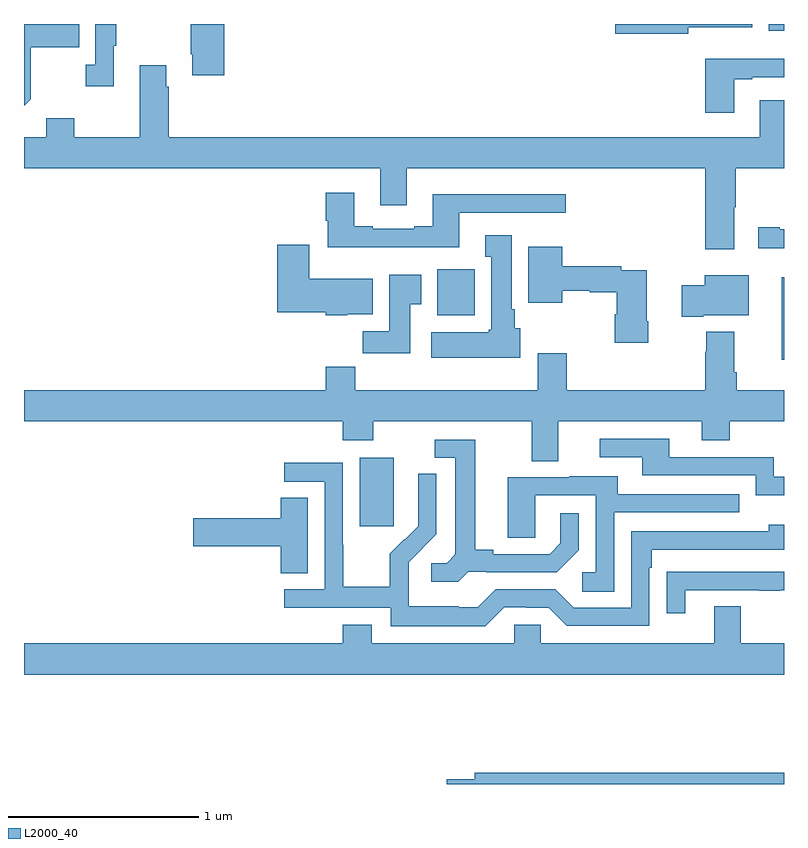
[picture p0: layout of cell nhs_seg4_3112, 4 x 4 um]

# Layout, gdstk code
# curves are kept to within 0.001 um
import gdstk
lib = gdstk.Library(unit=1e-6, precision=1e-09)
def R(c, l, rs):  # rectangles x0, y0, x1, y1
    for r in rs: c.add(gdstk.rectangle(r[:2], r[2:], *l))
def P(c, l, *ps):  # polygons
    for p in ps: c.add(gdstk.Polygon(p, *l))
L2000_40 = (2000, 40)

nhs_seg4_3112 = lib.new_cell('nhs_seg4_3112')
R(nhs_seg4_3112, L2000_40, [(276.767,808.257,276.946,808.618), (278.987,809.133,279,809.566), (277.175,809.366,277.372,809.608), (278.921,810.864,279,810.9)])
P(nhs_seg4_3112, L2000_40, [(276.053,810.9),(275.878,810.9),(275.878,810.742),(275.885,810.742),(275.885,810.63),(276.053,810.63)],
  [(275.035,810.505),(275.035,810.778),(275.291,810.778),(275.291,810.9),(275,810.9),(275,810.47)],
  [(275.473,810.785),(275.485,810.785),(275.485,810.9),(275.376,810.9),(275.376,810.686),(275.325,810.686),(275.325,810.573),(275.473,810.573)],
  [(278.496,810.884),(278.833,810.884),(278.833,810.9),(278.112,810.9),(278.112,810.848),(278.496,810.848)],
  [(278.737,810.609),(278.833,810.609),(278.833,810.621),(279,810.621),(279,810.718),(278.585,810.718),(278.585,810.432),(278.737,810.432)],
  [(276.875,809.946),(277.015,809.946),(277.015,810.14),(278.585,810.14),(278.585,809.715),(278.737,809.715),(278.737,809.936),(278.745,809.936),(278.745,810.14),(279,810.14),(279,810.499),(278.873,810.499),(278.873,810.304),(275.762,810.304),(275.762,810.569),(275.749,810.569),(275.749,810.682),(275.609,810.682),(275.609,810.304),(275.265,810.304),(275.265,810.403),(275.117,810.403),(275.117,810.304),(275,810.304),(275,810.14),(276.875,810.14)],
  [(277.291,809.907),(277.852,809.907),(277.852,810.004),(277.151,810.004),(277.151,809.836),(277.055,809.836),(277.055,809.823),(276.835,809.823),(276.835,809.836),(276.739,809.836),(276.739,810.013),(276.587,810.013),(276.587,809.865),(276.599,809.865),(276.599,809.726),(277.291,809.726)],
  [(279,809.82),(278.977,809.82),(278.977,809.83),(278.865,809.83),(278.865,809.72),(279,809.72)],
  [(277.612,809.298),(277.582,809.298),(277.582,809.398),(277.567,809.398),(277.567,809.788),(277.427,809.788),(277.427,809.675),(277.46,809.675),(277.46,809.292),(277.447,809.292),(277.447,809.278),(277.143,809.278),(277.143,809.144),(277.612,809.144)],
  [(276.702,809.372),(276.835,809.372),(276.835,809.56),(276.502,809.56),(276.502,809.737),(276.332,809.737),(276.332,809.384),(276.588,809.384),(276.588,809.366),(276.702,809.366)],
  [(278.286,809.335),(278.278,809.335),(278.278,809.604),(278.144,809.604),(278.144,809.624),(277.834,809.624),(277.834,809.728),(277.655,809.728),(277.655,809.432),(277.834,809.432),(277.834,809.496),(277.977,809.496),(277.977,809.488),(278.12,809.488),(278.12,809.373),(278.108,809.373),(278.108,809.223),(278.286,809.223)],
  [(277.033,809.425),(277.09,809.425),(277.09,809.581),(276.923,809.581),(276.923,809.284),(276.784,809.284),(276.784,809.166),(277.033,809.166)],
  [(278.575,809.366),(278.815,809.366),(278.815,809.578),(278.582,809.578),(278.582,809.524),(278.463,809.524),(278.463,809.36),(278.575,809.36)],
  [(277.813,808.808),(278.567,808.808),(278.567,808.709),(278.715,808.709),(278.715,808.808),(279,808.808),(279,808.972),(278.75,808.972),(278.75,809.068),(278.737,809.068),(278.737,809.281),(278.591,809.281),(278.591,809.174),(278.585,809.174),(278.585,808.972),(277.856,808.972),(277.856,809.167),(277.703,809.167),(277.703,808.972),(276.743,808.972),(276.743,809.096),(276.587,809.096),(276.587,808.972),(275,808.972),(275,808.808),(276.677,808.808),(276.677,808.709),(276.837,808.709),(276.837,808.808),(277.673,808.808),(277.673,808.6),(277.813,808.6)],
  [(279,808.518),(278.946,808.518),(278.946,808.62),(278.395,808.62),(278.395,808.716),(278.031,808.716),(278.031,808.62),(278.255,808.62),(278.255,808.524),(278.85,808.524),(278.85,808.421),(279,808.421)],
  [(277.338,808.017),(277.432,808.017),(277.432,808.014),(277.804,808.014),(277.92,808.13),(277.92,808.324),(277.823,808.324),(277.823,808.167),(277.766,808.11),(277.471,808.11),(277.471,808.133),(277.375,808.133),(277.375,808.713),(277.161,808.713),(277.161,808.617),(277.271,808.617),(277.271,808.109),(277.224,808.062),(277.143,808.062),(277.143,807.965),(277.286,807.965)],
  [(277.527,807.831),(277.643,807.831),(277.643,807.828),(277.761,807.828),(277.857,807.732),(278.292,807.732),(278.292,808.037),(278.305,808.037),(278.305,808.134),(279,808.134),(279,808.264),(278.921,808.264),(278.921,808.23),(278.196,808.23),(278.196,807.828),(277.893,807.828),(277.797,807.924),(277.482,807.924),(277.389,807.831),(277.289,807.831),(277.289,807.835),(277.026,807.835),(277.026,807.969),(277.024,807.969),(277.024,808.066),(277.17,808.214),(277.17,808.532),(277.074,808.532),(277.074,808.378),(277.076,808.378),(277.076,808.256),(277.005,808.185),(277.002,808.188),(276.925,808.111),(276.925,807.937),(276.681,807.937),(276.681,808.16),(276.678,808.16),(276.678,808.59),(276.369,808.59),(276.369,808.491),(276.582,808.491),(276.582,807.924),(276.369,807.924),(276.369,807.828),(276.93,807.828),(276.93,807.731),(277.427,807.731)],
  [(278.106,808.329),(278.765,808.329),(278.765,808.425),(278.125,808.425),(278.125,808.519),(277.871,808.519),(277.871,808.515),(277.547,808.515),(277.547,808.195),(277.692,808.195),(277.692,808.419),(278.01,808.419),(278.01,808.014),(277.938,808.014),(277.938,807.913),(278.106,807.913)],
  [(276.493,808.406),(276.35,808.406),(276.35,808.298),(275.892,808.298),(275.892,808.151),(276.35,808.151),(276.35,808.009),(276.493,808.009)],
  [(278.479,807.921),(278.869,807.921),(278.869,807.916),(278.981,807.916),(278.981,807.921),(279,807.921),(279,808.017),(278.485,808.017),(278.485,808.016),(278.383,808.016),(278.383,807.798),(278.479,807.798)],
  [(279,807.64),(278.773,807.64),(278.773,807.835),(278.633,807.835),(278.633,807.64),(277.719,807.64),(277.719,807.738),(277.581,807.738),(277.581,807.64),(276.829,807.64),(276.829,807.739),(276.677,807.739),(276.677,807.64),(275,807.64),(275,807.476),(279,807.476)],
  [(279,806.96),(277.373,806.96),(277.373,806.924),(277.224,806.924),(277.224,806.9),(279,806.9)])

lib.write_gds('nhs_seg4_3112.gds')
